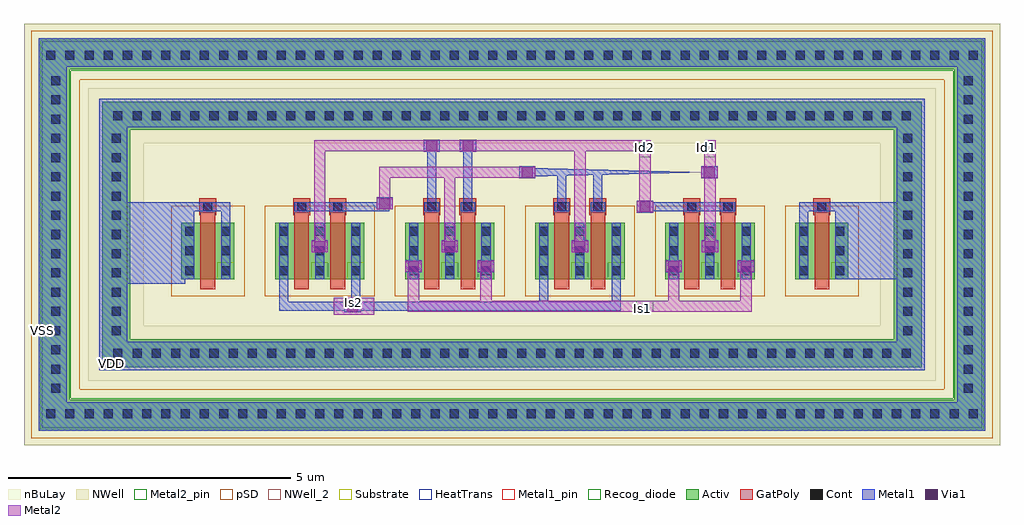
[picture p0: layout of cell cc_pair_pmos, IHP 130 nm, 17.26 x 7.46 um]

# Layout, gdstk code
import gdstk
lib = gdstk.Library(unit=1e-6, precision=1e-09)
def R(c, l, rs):  # rectangles x0, y0, x1, y1
    for r in rs: c.add(gdstk.rectangle(r[:2], r[2:], *l))
def A(c, l, x, y, w, h, nx, ny, dx, dy):  # array of equal rectangles
    R(c, l, [(x+i*dx, y+j*dy, x+i*dx+w, y+j*dy+h) for i in range(nx) for j in range(ny)])
def P(c, l, *ps):  # polygons
    for p in ps: c.add(gdstk.Polygon(p, *l))
Activ = (1, 0)
GatPoly = (5, 0)
Cont = (6, 0)
Metal1 = (8, 0)
Metal1_pin = (8, 2)
Metal2 = (10, 0)
Metal2_pin = (10, 2)
pSD = (14, 0)
Via1 = (19, 0)
NWell = (31, 0)
NWell_2 = (31, 2)
nBuLay = (32, 0)
Substrate = (40, 0)
HeatTrans = (51, 0)
Recog_diode = (99, 31)

pmos_1_1 = lib.new_cell('pmos$1$1')
R(pmos_1_1, Activ, [(0,0,0.3,0.3), (0,0,0.94,1), (0.64,0,0.94,0.3)])
R(pmos_1_1, GatPoly, [(0.34,-0.18,0.6,1.18), (0.34,-0.18,0.6,1.18)])
A(pmos_1_1, Cont, 0.07, 0.07, 0.16, 0.16, 1, 3, 0, 0.35)
A(pmos_1_1, Cont, 0.71, 0.07, 0.16, 0.16, 1, 3, 0, 0.35)
R(pmos_1_1, Metal1, [(0.07,0,0.23,1), (0.07,0,0.23,1), (0.71,0,0.87,1), (0.71,0,0.87,1)])
R(pmos_1_1, pSD, [(-0.18,-0.3,1.12,1.3)])
R(pmos_1_1, NWell, [(-0.31,-0.31,1.25,1.31)])
R(pmos_1_1, Substrate, [(0.64,0,0.94,0.3)])
R(pmos_1_1, HeatTrans, [(0.34,-0.18,0.6,1.18)])
pmos_1_1.add(gdstk.Label('pmos', (0.47,0.5), layer=63, texttype=0))
pmos_1_1.add(gdstk.Label('pmos', (0.47,0.5), layer=51, texttype=0))

via_96 = lib.new_cell('Via$96')
R(via_96, GatPoly, [(-0.15,-0.15,0.15,0.15)])
R(via_96, Cont, [(-0.08,-0.08,0.08,0.08)])
R(via_96, Metal1, [(-0.13,-0.08,0.13,0.08)])

via_2 = lib.new_cell('Via$2')
R(via_2, Metal1, [(-0.145,-0.105,0.145,0.105)])
R(via_2, Metal2, [(-0.145,-0.1,0.145,0.1)])
R(via_2, Via1, [(-0.095,-0.095,0.095,0.095)])

via_4 = lib.new_cell('Via$4')
R(via_4, Metal1, [(-0.145,-0.105,0.145,0.105)])
R(via_4, Metal2, [(-0.145,-0.1,0.145,0.1)])
R(via_4, Via1, [(-0.095,-0.095,0.095,0.095)])

via_6_1 = lib.new_cell('Via$6$1')
R(via_6_1, Metal1, [(-0.145,-0.105,0.145,0.105)])
R(via_6_1, Metal2, [(-0.145,-0.1,0.145,0.1)])
R(via_6_1, Via1, [(-0.095,-0.095,0.095,0.095)])

via_7_1 = lib.new_cell('Via$7$1')
R(via_7_1, Metal1, [(-0.145,-0.105,0.145,0.105)])
R(via_7_1, Metal2, [(-0.145,-0.1,0.145,0.1)])
R(via_7_1, Via1, [(-0.095,-0.095,0.095,0.095)])

via_9 = lib.new_cell('Via$9')
R(via_9, Metal1, [(-0.145,-0.105,0.145,0.105)])
R(via_9, Metal2, [(-0.145,-0.1,0.145,0.1)])
R(via_9, Via1, [(-0.095,-0.095,0.095,0.095)])

via_8_1 = lib.new_cell('Via$8$1')
R(via_8_1, Metal1, [(-0.145,-0.105,0.145,0.105)])
R(via_8_1, Metal2, [(-0.145,-0.1,0.145,0.1)])
R(via_8_1, Via1, [(-0.095,-0.095,0.095,0.095)])

via_10 = lib.new_cell('Via$10')
R(via_10, Metal1, [(-0.145,-0.105,0.145,0.105)])
R(via_10, Metal2, [(-0.145,-0.1,0.145,0.1)])
R(via_10, Via1, [(-0.095,-0.095,0.095,0.095)])

gring_1 = lib.new_cell('gring$1')
R(gring_1, Activ, [(0.05,0.05,14.55,0.55), (0.05,0.55,0.55,4.25), (14.05,0.55,14.55,4.25), (0.05,4.25,14.55,4.75)])
A(gring_1, Cont, 0.25, 0.22, 0.16, 0.16, 42, 2, 0.34, 4.2)
A(gring_1, Cont, 0.22, 0.62, 0.16, 0.16, 1, 11, 0, 0.34)
A(gring_1, Cont, 14.22, 0.62, 0.16, 0.16, 1, 11, 0, 0.34)
R(gring_1, Metal1, [(0,0,14.6,0.5), (0,0.5,0.5,4.3), (14.1,0.5,14.6,4.3), (0,4.3,14.6,4.8)])
R(gring_1, Metal1_pin, [(0,0,14.6,0.5), (0,0.5,0.5,4.3), (14.1,0.5,14.6,4.3), (0,4.3,14.6,4.8)])
R(gring_1, NWell, [(-0.19,-0.19,14.79,0.79), (-0.19,0.79,0.79,4.01), (13.81,0.79,14.79,4.01), (-0.19,4.01,14.79,4.99)])
R(gring_1, NWell_2, [(0.05,0.05,14.55,0.55), (0.05,0.55,0.55,4.25), (14.05,0.55,14.55,4.25), (0.05,4.25,14.55,4.75)])
R(gring_1, nBuLay, [(-0.19,-0.19,14.79,0.79), (-0.19,0.79,0.79,4.01), (13.81,0.79,14.79,4.01), (-0.19,4.01,14.79,4.99)])
gring_1.add(gdstk.Label('well', (7.3,0.25), layer=63, texttype=0))
gring_1.add(gdstk.Label('well', (7.3,0.25), layer=31, texttype=0))

gring = lib.new_cell('gring')
R(gring, Activ, [(0.05,0.05,16.69,0.55), (0.05,0.55,0.55,6.39), (16.19,0.55,16.69,6.39), (0.05,6.39,16.69,6.89)])
A(gring, Cont, 0.13, 0.22, 0.16, 0.16, 49, 2, 0.34, 6.34)
A(gring, Cont, 0.22, 0.67, 0.16, 0.16, 1, 17, 0, 0.34)
A(gring, Cont, 16.36, 0.67, 0.16, 0.16, 1, 17, 0, 0.34)
R(gring, Metal1, [(0,0,16.74,0.5), (0,0.5,0.5,6.44), (16.24,0.5,16.74,6.44), (0,6.44,16.74,6.94)])
R(gring, pSD, [(-0.13,-0.13,16.87,0.73), (-0.13,0.73,0.73,6.21), (16.01,0.73,16.87,6.21), (-0.13,6.21,16.87,7.07)])
R(gring, NWell, [(-0.26,-0.26,17,0.86), (-0.26,0.86,0.86,6.08), (15.88,0.86,17,6.08), (-0.26,6.08,17,7.2)])
P(gring, Recog_diode, [(0.03,0.03),(0.03,6.37),(0.57,6.37),(0.57,0.57),(16.17,0.57),(16.17,6.37),(0.03,6.37),(0.03,6.91),(16.71,6.91),(16.71,0.03)])
gring.add(gdstk.Label('dpant', (8.37,0.25), layer=63, texttype=0))

cc_pair_pmos = lib.new_cell('cc_pair_pmos')
R(cc_pair_pmos, Metal1, [(-3.21,0.15,-2.19,1.59), (9.47,0.23,10.39,1.59)])
R(cc_pair_pmos, Metal2, [(0.44,-0.4,1.15,-0.1)])
R(cc_pair_pmos, Metal2_pin, [(0.62,-0.35,0.92,-0.15), (5.79,-0.35,6.09,-0.15), (5.84,2.39,6.04,2.69), (6.99,2.39,7.19,2.69)])
R(cc_pair_pmos, NWell, [(-5.04,-2.71,12.22,4.75)])
cc_pair_pmos.add(gdstk.FlexPath([(-0.45,0.46),(-0.45,-0.25),(5.43,-0.25),(5.43,0.46),(5.39,0.46)], 0.16, ends="flush", simple_path=True, layer=8, datatype=0))  # Metal1
cc_pair_pmos.add(gdstk.FlexPath([(0.83,0.46),(0.83,-0.25)], 0.16, ends="flush", simple_path=True, layer=8, datatype=0))  # Metal1
cc_pair_pmos.add(gdstk.FlexPath([(4.15,0.46),(4.15,-0.25)], 0.16, ends="flush", simple_path=True, layer=8, datatype=0))  # Metal1
cc_pair_pmos.add(gdstk.FlexPath([(1.85,0.46),(1.85,0.46)], 0.16, ends="flush", simple_path=True, layer=8, datatype=0))  # Metal1
cc_pair_pmos.add(gdstk.FlexPath([(6.45,0.46),(6.45,0.46)], 0.16, ends="flush", simple_path=True, layer=8, datatype=0))  # Metal1
cc_pair_pmos.add(gdstk.FlexPath([(3.13,0.46),(3.13,0.46)], 0.16, ends="flush", simple_path=True, layer=8, datatype=0))  # Metal1
cc_pair_pmos.add(gdstk.FlexPath([(0.19,0.81),(0.19,0.81)], 0.16, ends="flush", simple_path=True, layer=8, datatype=0))  # Metal1
cc_pair_pmos.add(gdstk.FlexPath([(2.49,0.81),(2.49,0.81)], 0.16, ends="flush", simple_path=True, layer=8, datatype=0))  # Metal1
cc_pair_pmos.add(gdstk.FlexPath([(3.86,2.12),(7.09,2.12),(7.08,2.12)], 0.16, ends="flush", simple_path=True, layer=8, datatype=0))  # Metal1
cc_pair_pmos.add(gdstk.FlexPath([(5.11,1.51),(5.11,2.12)], 0.16, ends="flush", simple_path=True, layer=8, datatype=0))  # Metal1
cc_pair_pmos.add(gdstk.FlexPath([(4.47,1.51),(4.47,2.12)], 0.16, ends="flush", simple_path=True, layer=8, datatype=0))  # Metal1
cc_pair_pmos.add(gdstk.FlexPath([(2.81,1.51),(2.81,2.59)], 0.16, ends="flush", simple_path=True, layer=8, datatype=0))  # Metal1
cc_pair_pmos.add(gdstk.FlexPath([(2.17,1.51),(2.17,2.59)], 0.16, ends="flush", simple_path=True, layer=8, datatype=0))  # Metal1
cc_pair_pmos.add(gdstk.FlexPath([(-0.13,1.51),(0.52,1.51),(1.34,1.51),(1.34,1.57)], 0.16, ends="flush", simple_path=True, layer=8, datatype=0))  # Metal1
cc_pair_pmos.add(gdstk.FlexPath([(7.42,1.51),(5.94,1.51)], 0.16, ends="flush", simple_path=True, layer=8, datatype=0))  # Metal1
cc_pair_pmos.add(gdstk.FlexPath([(-2.11,1.16),(-2.11,1.51),(-1.47,1.51),(-1.47,1.16)], 0.16, ends="flush", simple_path=True, layer=8, datatype=0))  # Metal1
cc_pair_pmos.add(gdstk.FlexPath([(8.75,1.16),(8.75,1.51),(9.39,1.51),(9.39,1.13)], 0.16, ends="flush", simple_path=True, layer=8, datatype=0))  # Metal1
cc_pair_pmos.add(gdstk.FlexPath([(1.85,0.46),(1.85,-0.25),(7.73,-0.25),(7.73,0.46)], 0.2, ends="flush", simple_path=True, layer=10, datatype=0))  # Metal2
cc_pair_pmos.add(gdstk.FlexPath([(6.45,0.46),(6.45,-0.25)], 0.2, ends="flush", simple_path=True, layer=10, datatype=0))  # Metal2
cc_pair_pmos.add(gdstk.FlexPath([(3.13,0.46),(3.13,-0.25)], 0.2, ends="flush", simple_path=True, layer=10, datatype=0))  # Metal2
cc_pair_pmos.add(gdstk.FlexPath([(0.19,0.81),(0.19,2.59),(4.79,2.59),(4.79,0.81)], 0.2, ends="flush", simple_path=True, layer=10, datatype=0))  # Metal2
cc_pair_pmos.add(gdstk.FlexPath([(2.49,0.81),(2.49,2.12),(3.86,2.12)], 0.2, ends="flush", simple_path=True, layer=10, datatype=0))  # Metal2
cc_pair_pmos.add(gdstk.FlexPath([(7.09,0.81),(7.09,0.81)], 0.2, ends="flush", simple_path=True, layer=10, datatype=0))  # Metal2
cc_pair_pmos.add(gdstk.FlexPath([(7.09,0.81),(7.09,2.12)], 0.2, ends="flush", simple_path=True, layer=10, datatype=0))  # Metal2
cc_pair_pmos.add(gdstk.FlexPath([(1.34,1.57),(1.34,2.12),(2.49,2.12)], 0.2, ends="flush", simple_path=True, layer=10, datatype=0))  # Metal2
cc_pair_pmos.add(gdstk.FlexPath([(5.94,1.51),(5.94,2.59),(4.79,2.59)], 0.2, ends="flush", simple_path=True, layer=10, datatype=0))  # Metal2
cc_pair_pmos.add(gdstk.FlexPath([(7.09,2.12),(7.09,2.69)], 0.2, ends="flush", simple_path=True, layer=10, datatype=0))  # Metal2
cc_pair_pmos.add(gdstk.FlexPath([(-0.13,1.41),(-0.13,1.51)], 0.26, ends="flush", simple_path=True, layer=5, datatype=0))  # GatPoly
cc_pair_pmos.add(gdstk.FlexPath([(0.51,1.41),(0.51,1.51)], 0.26, ends="flush", simple_path=True, layer=5, datatype=0))  # GatPoly
cc_pair_pmos.add(gdstk.FlexPath([(9.07,1.41),(9.07,1.51)], 0.26, ends="flush", simple_path=True, layer=5, datatype=0))  # GatPoly
cc_pair_pmos.add(gdstk.FlexPath([(2.81,1.41),(2.81,1.51)], 0.26, ends="flush", simple_path=True, layer=5, datatype=0))  # GatPoly
cc_pair_pmos.add(gdstk.FlexPath([(2.17,1.41),(2.17,1.51)], 0.26, ends="flush", simple_path=True, layer=5, datatype=0))  # GatPoly
cc_pair_pmos.add(gdstk.FlexPath([(5.11,1.41),(5.11,1.51)], 0.26, ends="flush", simple_path=True, layer=5, datatype=0))  # GatPoly
cc_pair_pmos.add(gdstk.FlexPath([(7.41,1.41),(7.41,1.51)], 0.26, ends="flush", simple_path=True, layer=5, datatype=0))  # GatPoly
cc_pair_pmos.add(gdstk.FlexPath([(-1.79,1.41),(-1.79,1.51)], 0.26, ends="flush", simple_path=True, layer=5, datatype=0))  # GatPoly
cc_pair_pmos.add(gdstk.FlexPath([(4.47,1.41),(4.47,1.51)], 0.26, ends="flush", simple_path=True, layer=5, datatype=0))  # GatPoly
cc_pair_pmos.add(gdstk.FlexPath([(6.77,1.41),(6.77,1.51)], 0.26, ends="flush", simple_path=True, layer=5, datatype=0))  # GatPoly
cc_pair_pmos.add(gdstk.Reference(pmos_1_1, (-0.6,0.23)))
cc_pair_pmos.add(gdstk.Reference(pmos_1_1, (0.04,0.23)))
cc_pair_pmos.add(gdstk.Reference(via_96, (-0.13,1.51)))
cc_pair_pmos.add(gdstk.Reference(via_96, (0.51,1.51)))
cc_pair_pmos.add(gdstk.Reference(pmos_1_1, (8.6,0.23)))
cc_pair_pmos.add(gdstk.Reference(via_96, (9.07,1.51)))
cc_pair_pmos.add(gdstk.Reference(pmos_1_1, (1.7,0.23)))
cc_pair_pmos.add(gdstk.Reference(via_96, (2.81,1.51)))
cc_pair_pmos.add(gdstk.Reference(via_96, (2.17,1.51)))
cc_pair_pmos.add(gdstk.Reference(pmos_1_1, (2.34,0.23)))
cc_pair_pmos.add(gdstk.Reference(pmos_1_1, (4,0.23)))
cc_pair_pmos.add(gdstk.Reference(pmos_1_1, (6.3,0.23)))
cc_pair_pmos.add(gdstk.Reference(via_2, (1.85,0.46)))
cc_pair_pmos.add(gdstk.Reference(via_96, (5.11,1.51)))
cc_pair_pmos.add(gdstk.Reference(via_96, (7.41,1.51)))
cc_pair_pmos.add(gdstk.Reference(via_2, (7.73,0.46)))
cc_pair_pmos.add(gdstk.Reference(via_96, (4.47,1.51)))
cc_pair_pmos.add(gdstk.Reference(via_96, (6.77,1.51)))
cc_pair_pmos.add(gdstk.Reference(via_2, (6.45,0.46)))
cc_pair_pmos.add(gdstk.Reference(pmos_1_1, (4.64,0.23)))
cc_pair_pmos.add(gdstk.Reference(pmos_1_1, (6.94,0.23)))
cc_pair_pmos.add(gdstk.Reference(via_2, (3.13,0.46)))
cc_pair_pmos.add(gdstk.Reference(via_2, (0.19,0.81)))
cc_pair_pmos.add(gdstk.Reference(via_2, (4.79,0.81)))
cc_pair_pmos.add(gdstk.Reference(via_2, (2.49,0.81)))
cc_pair_pmos.add(gdstk.Reference(via_4, (3.86,2.12)))
cc_pair_pmos.add(gdstk.Reference(via_6_1, (7.08,2.12)))
cc_pair_pmos.add(gdstk.Reference(via_7_1, (7.09,0.81)))
cc_pair_pmos.add(gdstk.Reference(via_9, (2.81,2.59)))
cc_pair_pmos.add(gdstk.Reference(via_9, (2.17,2.59)))
cc_pair_pmos.add(gdstk.Reference(via_8_1, (1.34,1.57)))
cc_pair_pmos.add(gdstk.Reference(via_6_1, (5.94,1.51)))
cc_pair_pmos.add(gdstk.Reference(pmos_1_1, (-2.26,0.23)))
cc_pair_pmos.add(gdstk.Reference(via_96, (-1.79,1.51)))
cc_pair_pmos.add(gdstk.Reference(via_10, (0.77,-0.25)))
cc_pair_pmos.add(gdstk.Reference(gring_1, (-3.71,-1.38)))
cc_pair_pmos.add(gdstk.Reference(gring, (-4.78,-2.45)))
cc_pair_pmos.add(gdstk.Label('VSS', (-4.71,-0.67), layer=8, texttype=25))
cc_pair_pmos.add(gdstk.Label('VDD', (-3.5,-1.26), layer=8, texttype=25))
cc_pair_pmos.add(gdstk.Label('Id1', (7.03,2.56), layer=10, texttype=25))
cc_pair_pmos.add(gdstk.Label('Id2', (5.93,2.55), layer=10, texttype=25))
cc_pair_pmos.add(gdstk.Label('Is2', (0.79,-0.18), layer=10, texttype=25))
cc_pair_pmos.add(gdstk.Label('Is1', (5.9,-0.28), layer=10, texttype=25))

lib.write_gds('cc_pair_pmos.gds')
